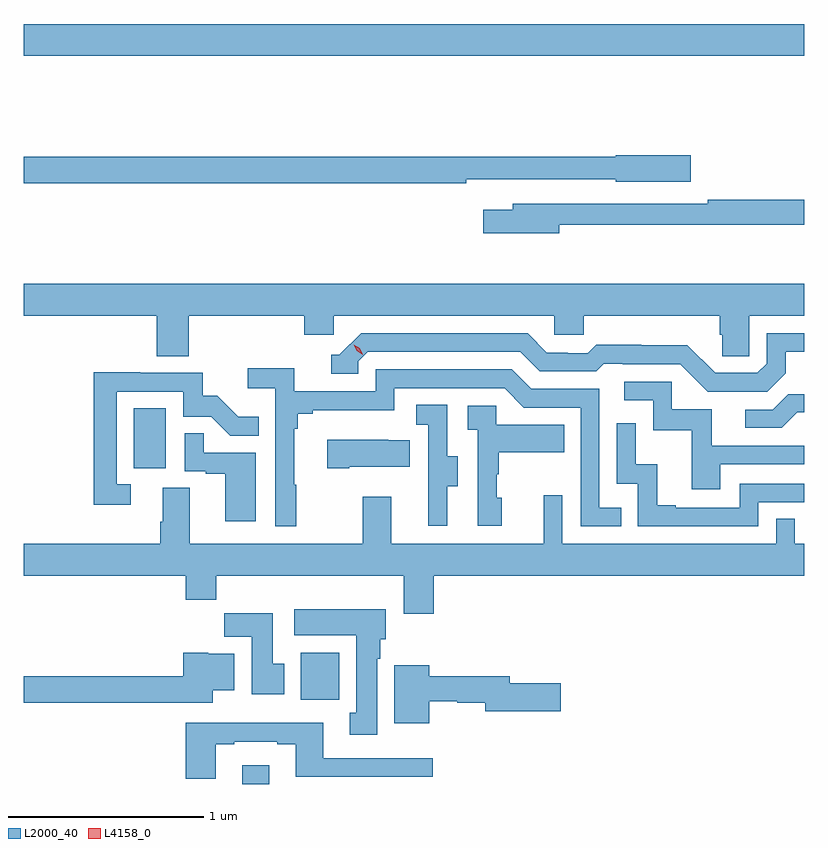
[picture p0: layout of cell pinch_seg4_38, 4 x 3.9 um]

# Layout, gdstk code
import gdstk
lib = gdstk.Library(unit=1e-6, precision=1e-09)
def R(c, l, rs):  # rectangles x0, y0, x1, y1
    for r in rs: c.add(gdstk.rectangle(r[:2], r[2:], *l))
def P(c, l, *ps):  # polygons
    for p in ps: c.add(gdstk.Polygon(p, *l))
L2000_40 = (2000, 40)
L4158_0 = (4158, 0)

pinch_seg4_38 = lib.new_cell('pinch_seg4_38')
R(pinch_seg4_38, L2000_40, [(1126.469,813.068,1126.609,813.163), (1126.769,813.5,1126.966,813.742), (1125.914,814.686,1126.078,814.993), (1125.35,816.8,1129.35,816.964)])
P(pinch_seg4_38, L2000_40, [(1127.618,816.168),(1128.384,816.168),(1128.384,816.155),(1128.769,816.155),(1128.769,816.29),(1128.384,816.29),(1128.384,816.284),(1125.35,816.284),(1125.35,816.148),(1127.618,816.148)],
  [(1128.094,815.934),(1129.35,815.934),(1129.35,816.062),(1128.856,816.062),(1128.856,816.042),(1127.855,816.042),(1127.855,816.013),(1127.706,816.013),(1127.706,815.891),(1128.094,815.891)],
  [(1126.196,815.468),(1126.787,815.468),(1126.787,815.37),(1126.938,815.37),(1126.938,815.468),(1128.069,815.468),(1128.069,815.37),(1128.219,815.37),(1128.219,815.468),(1128.917,815.468),(1128.917,815.37),(1128.931,815.37),(1128.931,815.26),(1129.068,815.26),(1129.068,815.468),(1129.35,815.468),(1129.35,815.632),(1125.35,815.632),(1125.35,815.468),(1126.031,815.468),(1126.031,815.26),(1126.196,815.26)],
  [(1129.255,815.173),(1129.255,815.283),(1129.35,815.283),(1129.35,815.379),(1129.158,815.379),(1129.158,815.223),(1129.11,815.175),(1128.894,815.175),(1128.752,815.317),(1128.516,815.317),(1128.516,815.32),(1128.283,815.32),(1128.241,815.277),(1128.138,815.277),(1128.138,815.28),(1128.031,815.28),(1127.932,815.379),(1127.079,815.379),(1126.968,815.268),(1126.925,815.268),(1126.925,815.172),(1127.064,815.172),(1127.064,815.235),(1127.112,815.283),(1127.895,815.283),(1127.994,815.184),(1128.283,815.184),(1128.322,815.223),(1128.421,815.223),(1128.421,815.22),(1128.714,815.22),(1128.855,815.079),(1129.161,815.079)],
  [(1126.747,814.601),(1126.735,814.601),(1126.735,814.889),(1126.754,814.889),(1126.754,814.966),(1126.831,814.966),(1126.831,814.985),(1127.25,814.985),(1127.25,815.097),(1127.814,815.097),(1127.913,814.998),(1128.204,814.998),(1128.204,814.389),(1128.413,814.389),(1128.413,814.485),(1128.3,814.485),(1128.3,815.094),(1127.95,815.094),(1127.851,815.193),(1127.154,815.193),(1127.154,815.082),(1126.736,815.082),(1126.736,815.198),(1126.497,815.198),(1126.497,815.096),(1126.638,815.096),(1126.638,814.389),(1126.747,814.389)],
  [(1125.898,814.605),(1125.825,814.605),(1125.825,815.079),(1126.167,815.079),(1126.167,814.95),(1126.311,814.95),(1126.409,814.852),(1126.553,814.852),(1126.553,814.951),(1126.449,814.951),(1126.342,815.058),(1126.266,815.058),(1126.266,815.175),(1125.947,815.175),(1125.947,815.18),(1125.709,815.18),(1125.709,814.5),(1125.898,814.5)],
  [(1128.919,814.707),(1129.35,814.707),(1129.35,814.803),(1128.877,814.803),(1128.877,814.989),(1128.672,814.989),(1128.672,815.13),(1128.429,815.13),(1128.429,815.034),(1128.576,815.034),(1128.576,814.881),(1128.775,814.881),(1128.775,814.578),(1128.919,814.578)],
  [(1129.315,814.974),(1129.35,814.974),(1129.35,815.066),(1129.268,815.066),(1129.188,814.986),(1129.047,814.986),(1129.047,814.893),(1129.234,814.893)],
  [(1127.521,814.594),(1127.575,814.594),(1127.575,814.749),(1127.52,814.749),(1127.52,815.012),(1127.361,815.012),(1127.361,814.909),(1127.424,814.909),(1127.424,814.605),(1127.423,814.605),(1127.423,814.392),(1127.521,814.392)],
  [(1127.8,814.536),(1127.775,814.536),(1127.775,814.655),(1127.785,814.655),(1127.785,814.769),(1128.119,814.769),(1128.119,814.909),(1127.772,814.909),(1127.772,815.007),(1127.625,815.007),(1127.625,814.883),(1127.676,814.883),(1127.676,814.392),(1127.8,814.392)],
  [(1129.116,814.512),(1129.35,814.512),(1129.35,814.608),(1129.02,814.608),(1129.02,814.485),(1128.691,814.485),(1128.691,814.498),(1128.596,814.498),(1128.596,814.706),(1128.486,814.706),(1128.486,814.918),(1128.39,814.918),(1128.39,814.608),(1128.498,814.608),(1128.498,814.389),(1129.116,814.389)],
  [(1126.54,814.767),(1126.271,814.767),(1126.271,814.865),(1126.176,814.865),(1126.176,814.671),(1126.283,814.671),(1126.283,814.659),(1126.382,814.659),(1126.382,814.416),(1126.54,814.416)],
  [(1127.017,814.694),(1127.327,814.694),(1127.327,814.831),(1127.219,814.831),(1127.219,814.834),(1126.905,814.834),(1126.905,814.687),(1127.017,814.687)],
  [(1127.45,814.136),(1129.35,814.136),(1129.35,814.3),(1129.302,814.3),(1129.302,814.427),(1129.206,814.427),(1129.206,814.3),(1128.111,814.3),(1128.111,814.549),(1128.014,814.549),(1128.014,814.3),(1127.233,814.3),(1127.233,814.54),(1127.086,814.54),(1127.086,814.3),(1126.201,814.3),(1126.201,814.586),(1126.061,814.586),(1126.061,814.412),(1126.049,814.412),(1126.049,814.3),(1125.35,814.3),(1125.35,814.136),(1126.181,814.136),(1126.181,814.012),(1126.337,814.012),(1126.337,814.136),(1127.297,814.136),(1127.297,813.942),(1127.45,813.942)],
  [(1127.161,813.71),(1127.176,813.71),(1127.176,813.81),(1127.206,813.81),(1127.206,813.964),(1126.737,813.964),(1126.737,813.83),(1127.054,813.83),(1127.054,813.434),(1127.021,813.434),(1127.021,813.321),(1127.161,813.321)],
  [(1126.684,813.684),(1126.627,813.684),(1126.627,813.943),(1126.378,813.943),(1126.378,813.824),(1126.517,813.824),(1126.517,813.528),(1126.684,813.528)],
  [(1126.318,813.548),(1126.429,813.548),(1126.429,813.736),(1126.296,813.736),(1126.296,813.742),(1126.166,813.742),(1126.166,813.62),(1125.35,813.62),(1125.35,813.484),(1126.318,813.484)],
  [(1127.428,813.492),(1127.571,813.492),(1127.571,813.484),(1127.714,813.484),(1127.714,813.442),(1128.103,813.442),(1128.103,813.584),(1127.842,813.584),(1127.842,813.62),(1127.428,813.62),(1127.428,813.676),(1127.249,813.676),(1127.249,813.38),(1127.428,813.38)],
  [(1126.333,813.273),(1126.429,813.273),(1126.429,813.285),(1126.649,813.285),(1126.649,813.273),(1126.745,813.273),(1126.745,813.104),(1127.446,813.104),(1127.446,813.201),(1126.885,813.201),(1126.885,813.382),(1126.181,813.382),(1126.181,813.096),(1126.333,813.096)])
P(pinch_seg4_38, L4158_0, [(1127.088,815.269),(1127.057,815.288),(1127.04,815.321),(1127.04,815.321),(1127.041,815.321),(1127.072,815.302),(1127.088,815.269),(1127.088,815.269)])

lib.write_gds('pinch_seg4_38.gds')
